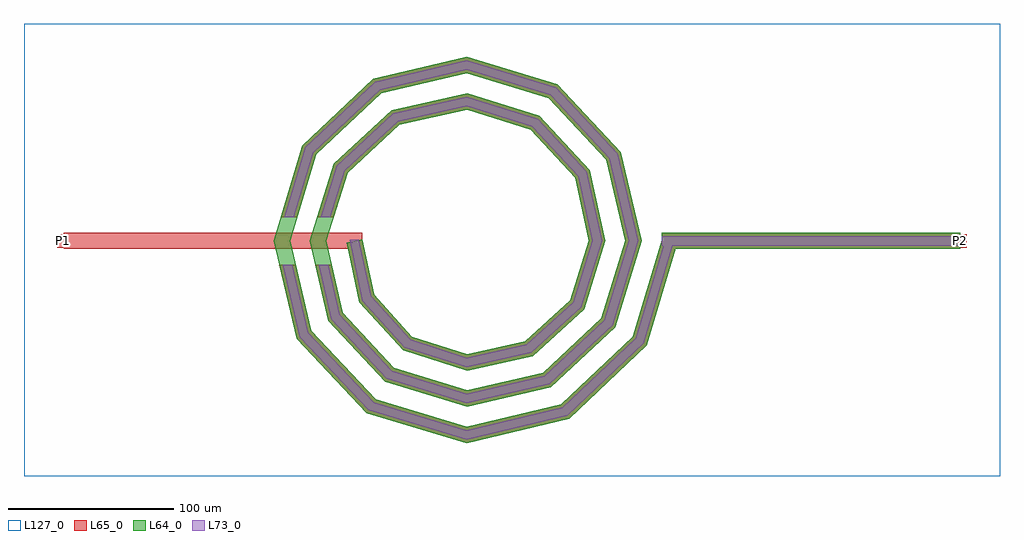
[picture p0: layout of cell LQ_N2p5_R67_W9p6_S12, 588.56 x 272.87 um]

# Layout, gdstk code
import gdstk
lib = gdstk.Library(unit=1e-6, precision=1e-09)
def R(c, l, rs):  # rectangles x0, y0, x1, y1
    for r in rs: c.add(gdstk.rectangle(r[:2], r[2:], *l))
def P(c, l, *ps):  # polygons
    for p in ps: c.add(gdstk.Polygon(p, *l))
L64_0 = (64, 0)
L65_0 = (65, 0)
L73_0 = (73, 0)
L127_0 = (127, 0)

lq_n2p5_r67_w9p6_s12 = lib.new_cell('LQ_N2p5_R67_W9p6_S12')
R(lq_n2p5_r67_w9p6_s12, L64_0, [(117.589,-4.8,297.589,4.8)])
P(lq_n2p5_r67_w9p6_s12, L64_0, [(-55.846,-32.523),(-33.018,-57.662),(0.23,-68.266),(35.238,-60.585),(62.383,-35.764),(73.728,0.214),(65.322,37.956),(38.507,67.106),(0.201,79.189),(-40.675,70.058),(-71.829,41.249),(-84.651,0.188),(-74.794,-43.396),(-43.989,-76.554),(0.177,-90.113),(46.117,-79.529),(81.279,-46.729),(95.574,0.168),(84.264,48.84),(49.467,86.004),(0.159,101.036),(-51.564,88.998),(-90.73,52.205),(-106.498,0.151),(-93.732,-54.288),(-54.943,-95.457),(0.144,-111.96),(57.013,-98.466),(100.183,-57.679),(117.789,1.371),(126.989,-1.371),(108.648,-62.889),(61.735,-107.212),(0.144,-121.895),(-60.164,-103.914),(-102.485,-58.998),(-116.433,0.151),(-99.18,57.439),(-56.26,97.758),(0.159,110.97),(54.715,94.445),(93.032,53.522),(105.508,0.168),(89.71,-51.992),(50.783,-88.306),(0.177,-100.046),(-49.269,-84.975),(-83.581,-48.042),(-94.583,0.188),(-80.239,46.548),(-45.301,78.856),(0.201,89.121),(43.828,75.502),(74.132,42.558),(83.659,0.214),(70.764,-41.109),(39.814,-69.409),(0.23,-78.196),(-38.392,-66.025),(-64.687,-37.067),(-72.461,-1.012),(-63.077,1.012)])
R(lq_n2p5_r67_w9p6_s12, L65_0, [(-242.969,-4.8,-62.969,4.8), (117.589,-4.8,297.589,4.8), (-246.969,-4,-238.969,4), (293.589,-4,301.589,4)])
P(lq_n2p5_r67_w9p6_s12, L65_0, [(-93.732,-54.288),(-54.943,-95.457),(0.144,-111.96),(57.013,-98.466),(100.183,-57.679),(117.789,1.372),(126.989,-1.372),(108.648,-62.889),(61.735,-107.212),(0.144,-121.895),(-60.164,-103.914),(-102.485,-58.998),(-113.001,-14.4),(-103.138,-14.4)],
  [(-74.794,-43.396),(-43.989,-76.554),(0.178,-90.113),(46.117,-79.529),(81.279,-46.729),(95.574,0.168),(84.264,48.84),(49.468,86.004),(0.159,101.036),(-51.564,88.998),(-90.73,52.205),(-102.116,14.4),(-112.142,14.4),(-99.18,57.439),(-56.26,97.758),(0.159,110.97),(54.715,94.445),(93.032,53.522),(105.508,0.168),(89.71,-51.992),(50.783,-88.306),(0.178,-100.046),(-49.269,-84.975),(-83.581,-48.042),(-91.256,-14.4),(-81.409,-14.4)],
  [(-33.018,-57.662),(0.23,-68.267),(35.238,-60.585),(62.383,-35.764),(73.728,0.214),(65.322,37.956),(38.507,67.106),(0.201,79.189),(-40.675,70.059),(-71.829,41.249),(-80.137,14.4),(-90.186,14.4),(-80.239,46.548),(-45.301,78.856),(0.201,89.121),(43.828,75.502),(74.132,42.558),(83.659,0.214),(70.764,-41.109),(39.814,-69.409),(0.23,-78.196),(-38.392,-66.025),(-64.687,-37.067),(-72.461,-1.012),(-63.077,1.012),(-55.846,-32.523)])
R(lq_n2p5_r67_w9p6_s12, L73_0, [(117.589,-2.8,297.589,2.8)])
P(lq_n2p5_r67_w9p6_s12, L73_0, [(-95.556,-55.269),(-56.03,-97.219),(0.084,-114.03),(57.997,-100.288),(101.947,-58.765),(119.706,0.8),(125.073,0.8),(106.884,-61.804),(60.751,-105.39),(0.084,-119.825),(-59.076,-102.152),(-100.661,-58.017),(-110.946,-14.4),(-105.193,-14.4)],
  [(-76.625,-44.364),(-45.089,-78.308),(0.104,-92.182),(47.089,-81.358),(83.035,-47.825),(97.644,0.098),(86.091,49.816),(50.561,87.763),(0.093,103.106),(-52.542,90.823),(-92.491,53.296),(-104.204,14.4),(-110.053,14.4),(-97.42,56.349),(-55.282,95.933),(0.093,108.901),(53.622,92.687),(91.205,52.546),(103.439,0.098),(87.954,-50.895),(49.811,-86.478),(0.104,-97.976),(-48.169,-83.221),(-81.75,-47.074),(-89.204,-14.4),(-83.46,-14.4)],
  [(-34.138,-59.404),(0.134,-70.335),(36.191,-62.423),(64.129,-36.877),(75.797,0.125),(67.158,38.915),(39.615,68.855),(0.117,81.259),(-41.639,71.891),(-73.581,42.353),(-82.231,14.4),(-88.093,14.4),(-78.487,45.444),(-44.337,77.023),(0.117,87.052),(42.719,73.753),(72.297,41.599),(81.59,0.125),(69.018,-39.995),(38.861,-67.571),(0.134,-76.127),(-37.273,-64.283),(-62.845,-36.12),(-70.506,0.59),(-65.032,0.59),(-57.688,-33.47)])
R(lq_n2p5_r67_w9p6_s12, L127_0, [(-266.969,-141.895,321.589,130.97)])
lq_n2p5_r67_w9p6_s12.add(gdstk.Label('P2', (297.589,0), layer=65, texttype=0))
lq_n2p5_r67_w9p6_s12.add(gdstk.Label('P1', (-242.969,0), layer=65, texttype=0))
lq_n2p5_r67_w9p6_s12.add(gdstk.Label('P2', (301.589,0), layer=145, texttype=0))
lq_n2p5_r67_w9p6_s12.add(gdstk.Label('P1', (-246.969,0), layer=145, texttype=0))

lib.write_gds('LQ_N2p5_R67_W9p6_S12.gds')
